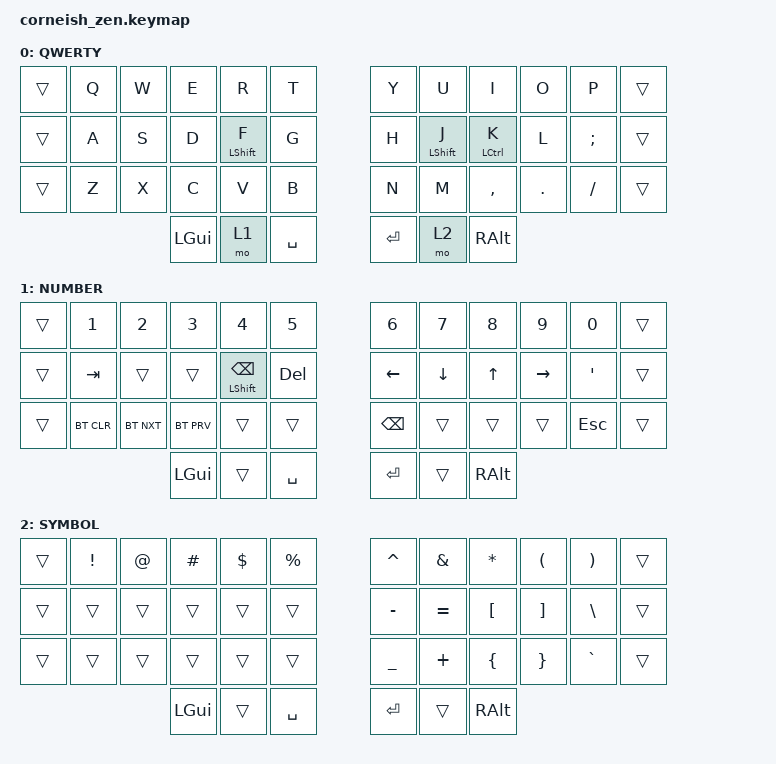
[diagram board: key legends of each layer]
#include <behaviors.dtsi>
#include <dt-bindings/zmk/bt.h>
#include <dt-bindings/zmk/keys.h>

/ {
    chosen {
        zmk,matrix_transform = &default_transform;

        //zmk,matrix_transform = &five_column_transform;
    };
};

/ {
    keymap {
        compatible = "zmk,keymap";

        default_layer {
            label = "QWERTY";

            // -----------------------------------------------------------------------------------------
            // |  Q  |  W  |  E  |  R  |  T  |   |  Y  |  U   |  I  |  O  |  P  |
            // |  A  |  S  |  D  |  F  |  G  |   |  H  |  J   |  K  |  L  |  ;  |
            // |  Z  |  X  |  C  |  V  |  B  |   |  N  |  M   |  ,  |  .  |  /  |
            //             | GUI | LWR | SPC |   | ENT | RSE  | ALT |

            bindings = <
&trans  &kp Q  &kp W  &kp E     &kp R             &kp T        &kp Y      &kp U             &kp I               &kp O    &kp P     &trans
&trans  &kp A  &kp S  &kp D     &mt LEFT_SHIFT F  &kp G        &kp H      &mt LEFT_SHIFT J  &mt LEFT_CONTROL K  &kp L    &kp SEMI  &trans
&trans  &kp Z  &kp X  &kp C     &kp V             &kp B        &kp N      &kp M             &kp COMMA           &kp DOT  &kp FSLH  &trans
                      &kp LGUI  &mo 1             &kp SPACE    &kp ENTER  &mo 2             &kp RALT
            >;
        };

        lower_layer {
            label = "NUMBER";

            // -----------------------------------------------------------------------------------------
            // |  1  |  2  |  3  |  4   |  5  |   |  6   |  7  |  8  |  9  |  0  |
            // | TAB |     |     | BKSP | DEL |   | LFT  | DWN |  UP | RGT |  '  |
            // |BT_CL|BT_NX|BT_PR|      |     |   | BKSP |     |     |     | ESC |
            //             | GUI |      | SPC |   | ENT  |     | ALT |

            bindings = <
&trans  &kp N1      &kp N2      &kp N3      &kp N4                    &kp N5       &kp N6         &kp N7    &kp N8    &kp N9     &kp N0            &trans
&trans  &kp TAB     &trans      &trans      &mt LEFT_SHIFT BACKSPACE  &kp DEL      &kp LEFT       &kp DOWN  &kp UP    &kp RIGHT  &kp SINGLE_QUOTE  &trans
&trans  &bt BT_CLR  &bt BT_NXT  &bt BT_PRV  &trans                    &trans       &kp BACKSPACE  &trans    &trans    &trans     &kp ESC           &trans
                                &kp LGUI    &trans                    &kp SPACE    &kp ENTER      &trans    &kp RALT
            >;
        };

        raise_layer {
            label = "SYMBOL";

            // -----------------------------------------------------------------------------------------
            // |  !  |  @  |  #  |  $  |  %  |   |  ^  |  &  |  *  |  (  |  )  |
            // |     |     |     |     |     |   |  -  |  =  |  [  |  ]  |  \  |
            // |     |     |     |     |     |   |  _  |  +  |  {  |  }  |  `  | 
            //             | GUI |     | SPC |   | ENT |     | ALT |

            bindings = <
&trans  &kp EXCL  &kp AT  &kp HASH  &kp DLLR  &kp PRCNT    &kp CARET  &kp AMPS   &kp STAR  &kp LPAR  &kp RPAR   &trans
&trans  &trans    &trans  &trans    &trans    &trans       &kp MINUS  &kp EQUAL  &kp LBKT  &kp RBKT  &kp BSLH   &trans
&trans  &trans    &trans  &trans    &trans    &trans       &kp UNDER  &kp PLUS   &kp LBRC  &kp RBRC  &kp GRAVE  &trans
                          &kp LGUI  &trans    &kp SPACE    &kp RET    &trans     &kp RALT
            >;
        };
    };
};
